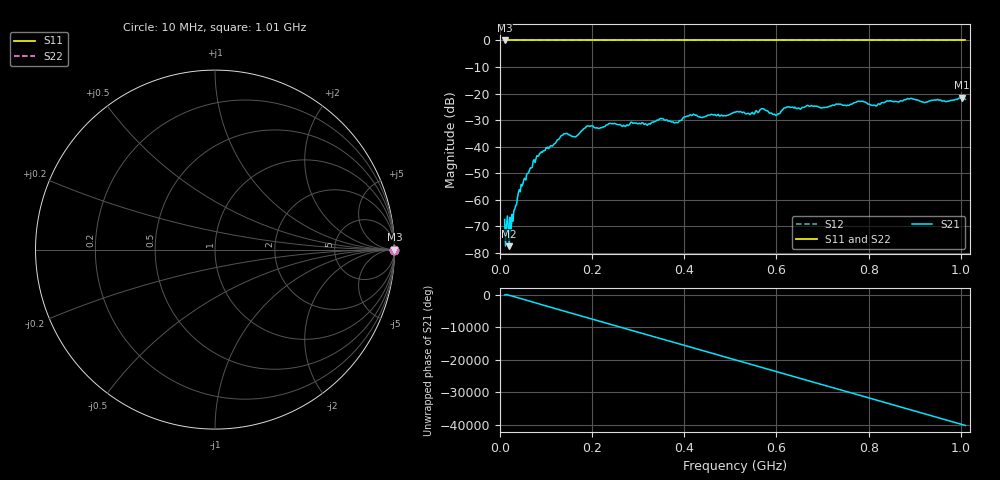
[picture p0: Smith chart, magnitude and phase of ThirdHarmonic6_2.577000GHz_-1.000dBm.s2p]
! 8/17/2025 5:26:04 AM
! C:\ANRITSUVNA\TEMP\TEMP.S2P
! CHANNEL.1
! TR.MEASUREMENT
! RAW.DATA
! RF.CORRECTION.OFF
! AVERAGING.OFF
! IF.BANDWIDTH: 5KHZ
! SWEEPTYPE:  FREQ.SWEEP(Linear)
! Reference Plane Port Info
! PORT:  PORT1  PORT2
! DISTANCE:  0  m  0  m
! TIME:  0  s  0  s
! PHASE.OFFSET:  0  deg.  0  deg.
! LOSS:  0  dB  0  dB
! REF.LOSS:  0  dB  0  dB
! REF.FREQ:  0  Hz  0  Hz
! Power Info
! POWER:  -20  dBm  -20  dBm
! EFF.POWER:  -20  dBm  -20  dBm
! SOURCE.ATTEN:  0  dB  0  dB
! TEST.ATTEN:  0  dB  0  dB
# GHZ S RI R 50.0
! FREQ.GHZ  S11RE  S11IM  S21RE  S21IM  S12RE  S12IM  S22RE  S22IM
!; PortSelection: Port_12
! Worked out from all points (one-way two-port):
!   501 points, 10 MHz to 1.01 GHz, reference 50 ohm
!   highest |S21| = -21.52 dB at 1.002 GHz (marker M1); lowest = -77.5 dB at 20 MHz (marker M2)
!   lowest |S11| = 0.0 dB at 10 MHz (marker M3)
!   |S11| at or under -10 dB: nowhere
!   |S22| runs from 0.0 to 0.0 dB; largest |S21 - S12| = 1.1
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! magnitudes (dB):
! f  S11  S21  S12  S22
! 10 MHz  0.0  -67.4  0.0  0.0
! 16 MHz  0.0  -66.1  0.0  0.0
! 20 MHz  0.0  -77.5  0.0  0.0
! 24 MHz  0.0  -71.8  0.0  0.0
! 42 MHz  0.0  -56.1  0.0  0.0
! 76 MHz  0.0  -46.0  0.0  0.0
! 136 MHz  0.0  -35.7  0.0  0.0
! 162 MHz  0.0  -36.3  0.0  0.0
! 178 MHz  0.0  -33.9  0.0  0.0
! 344 MHz  0.0  -30.0  0.0  0.0
! 382 MHz  0.0  -30.8  0.0  0.0
! 416 MHz  0.0  -28.3  0.0  0.0
! 510 MHz  0.0  -27.0  0.0  0.0
! 570 MHz  0.0  -25.7  0.0  0.0
! 598 MHz  0.0  -28.1  0.0  0.0
! 622 MHz  0.0  -25.1  0.0  0.0
! 678 MHz  0.0  -24.7  0.0  0.0
! 782 MHz  0.0  -23.0  0.0  0.0
! 814 MHz  0.0  -24.4  0.0  0.0
! 844 MHz  0.0  -22.9  0.0  0.0
! 1.002 GHz  0.0  -21.5  0.0  0.0
! 1.01 GHz  0.0  -22.2  0.0  0.0
